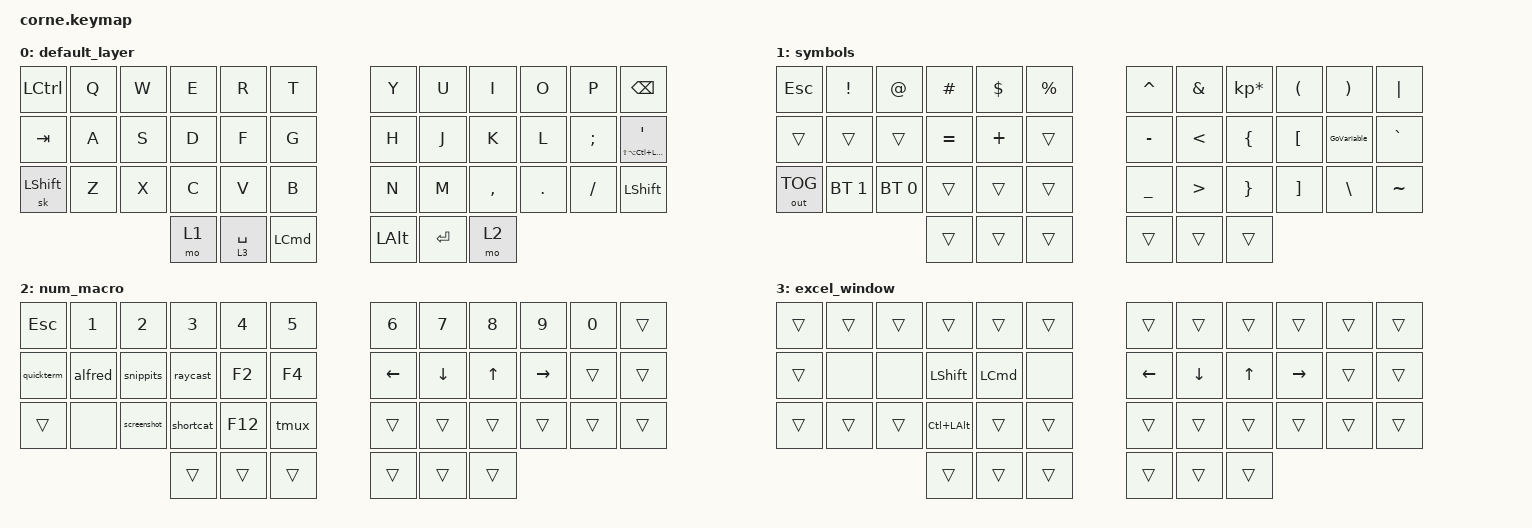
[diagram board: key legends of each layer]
/*
 * Copyright (c) 2020 The ZMK Contributors
 *
 * SPDX-License-Identifier: MIT
 */

#include <behaviors.dtsi>
#include <dt-bindings/zmk/bt.h>
#include <dt-bindings/zmk/keys.h>
#include <dt-bindings/zmk/outputs.h>

/ {
    macros {
        alfred: alfred {
            compatible = "zmk,behavior-macro";
            #binding-cells = <0>;
            bindings = <&kp LG(SPACE)>;
            display-name = "ALFRED";
        };

        snippits: snippits {
            compatible = "zmk,behavior-macro";
            #binding-cells = <0>;
            bindings = <&kp LG(LA(SPACE))>;
            display-name = "SNIPPITS";
        };

        screenshot: screenshot {
            compatible = "zmk,behavior-macro";
            #binding-cells = <0>;
            bindings = <&kp LA(LS(Z))>;
            display-name = "SCREENSHOT";
        };

        raycast: raycast {
            compatible = "zmk,behavior-macro";
            #binding-cells = <0>;
            bindings = <&kp LA(SPACE)>;
            display-name = "RAYCAST";
        };

        shortcat: warp {
            compatible = "zmk,behavior-macro";
            #binding-cells = <0>;
            bindings = <&kp LC(LA(SPACE))>;
            display-name = "WARP";
        };

        GoVariable: GoVariable {
            compatible = "zmk,behavior-macro";
            #binding-cells = <0>;
            bindings = <&kp COLON &kp EQUAL>;
            display-name = "GOVARIABLE";
        };

        tmux: tmux {
            compatible = "zmk,behavior-macro";
            #binding-cells = <0>;
            bindings = <&kp LC(B)>;
            display-name = "TMUX";
        };

        hyper: hyper {
            compatible = "zmk,behavior-macro";
            #binding-cells = <0>;
            bindings = <&kp LS(LC(LA(RIGHT_GUI)))>;
            display-name = "HYPER";
        };

        quickterm: quickterm {
            compatible = "zmk,behavior-macro";
            #binding-cells = <0>;
            bindings = <&kp LC(GRAVE)>;
            display-name = "QUICKTERM";
        };
    };

    combos { compatible = "zmk,combos"; };

    keymap {
        compatible = "zmk,keymap";

        default_layer {
            // -----------------------------------------------------------------------------------------
            // |  TAB |  Q  |  W  |  E  |  R  |  T  |   |  Y  |  U   |  I  |  O  |  P  | BKSP |
            // | CTRL |  A  |  S  |  D  |  F  |  G  |   |  H  |  J   |  K  |  L  |  ;  |  '   |
            // | SHFT |  Z  |  X  |  C  |  V  |  B  |   |  N  |  M   |  ,  |  .  |  /  | ESC  |
            //                    | GUI | LWR | SPC |   | ENT | RSE  | ALT |

            bindings = <
&kp LCTRL       &kp Q  &kp W  &kp E  &kp R        &kp T               &kp Y         &kp U      &kp I      &kp O    &kp P     &kp BSPC
&kp TAB         &kp A  &kp S  &kp D  &kp F        &kp G               &kp H         &kp J      &kp K      &kp L    &kp SEMI  &mt LS(LA(LC(LEFT_GUI))) SQT
&sk LEFT_SHIFT  &kp Z  &kp X  &kp C  &kp V        &kp B               &kp N         &kp M      &kp COMMA  &kp DOT  &kp FSLH  &kp LEFT_SHIFT
                              &mo 1  &lt 3 SPACE  &kp LEFT_COMMAND    &kp LEFT_ALT  &kp ENTER  &mo 2
            >;
        };

        symbols {
            // -----------------------------------------------------------------------------------------
            // |  TAB |  !  |  @  |  #  |  $  |  %  |   |  ^  |  &  |  *  |  (  |  )  | BKSP |
            // | CTRL |     |     |     |     |     |   |  -  |  =  |  [  |  ]  |  \  |  `   |
            // | SHFT |     |     |     |     |     |   |  _  |  +  |  {  |  }  | "|" |  ~   |
            //                    | GUI |     | SPC |   | ENT |     | ALT |

            bindings = <
&kp ESCAPE    &kp EXCL      &kp AT        &kp HASH   &kp DLLR  &kp PRCNT    &kp CARET  &kp AMPS          &kp KP_MULTIPLY  &kp LPAR           &kp RPAR       &kp PIPE
&trans        &trans        &trans        &kp EQUAL  &kp PLUS  &trans       &kp MINUS  &kp LESS_THAN     &kp LEFT_BRACE   &kp LEFT_BRACKET   &GoVariable    &kp GRAVE
&out OUT_TOG  &bt BT_SEL 1  &bt BT_SEL 0  &trans     &trans    &trans       &kp UNDER  &kp GREATER_THAN  &kp RIGHT_BRACE  &kp RIGHT_BRACKET  &kp BACKSLASH  &kp TILDE
                                          &trans     &trans    &trans       &trans     &trans            &trans
            >;
        };

        num_macro {
            // -----------------------------------------------------------------------------------------
            // |  TAB |  1  |  2  |  3  |  4  |  5  |   |  6  |  7  |  8  |  9  |  0  | BKSP |
            // | BTCLR| BT1 | BT2 | BT3 | BT4 | BT5 |   | LFT | DWN |  UP | RGT |     |      |
            // | SHFT |     |     |     |     |     |   |     |     |     |     |     |      |
            //                    | GUI |     | SPC |   | ENT |     | ALT |

            bindings = <
&kp ESCAPE  &kp N1   &kp N2       &kp N3     &kp N4   &kp N5    &kp N6    &kp N7    &kp N8  &kp N9     &kp N0  &trans
&quickterm  &alfred  &snippits    &raycast   &kp F2   &kp F4    &kp LEFT  &kp DOWN  &kp UP  &kp RIGHT  &trans  &trans
&trans      &none    &screenshot  &shortcat  &kp F12  &tmux     &trans    &trans    &trans  &trans     &trans  &trans
                                  &trans     &trans   &trans    &trans    &trans    &trans
            >;
        };

        excel_window {
            bindings = <
&trans  &trans  &trans  &trans            &trans            &trans    &trans          &trans          &trans        &trans           &trans  &trans
&trans  &none   &none   &kp LEFT_SHIFT    &kp LEFT_COMMAND  &none     &kp LEFT_ARROW  &kp DOWN_ARROW  &kp UP_ARROW  &kp RIGHT_ARROW  &trans  &trans
&trans  &trans  &trans  &kp LC(LEFT_ALT)  &trans            &trans    &trans          &trans          &trans        &trans           &trans  &trans
                        &trans            &trans            &trans    &trans          &trans          &trans
            >;
        };
    };
};
